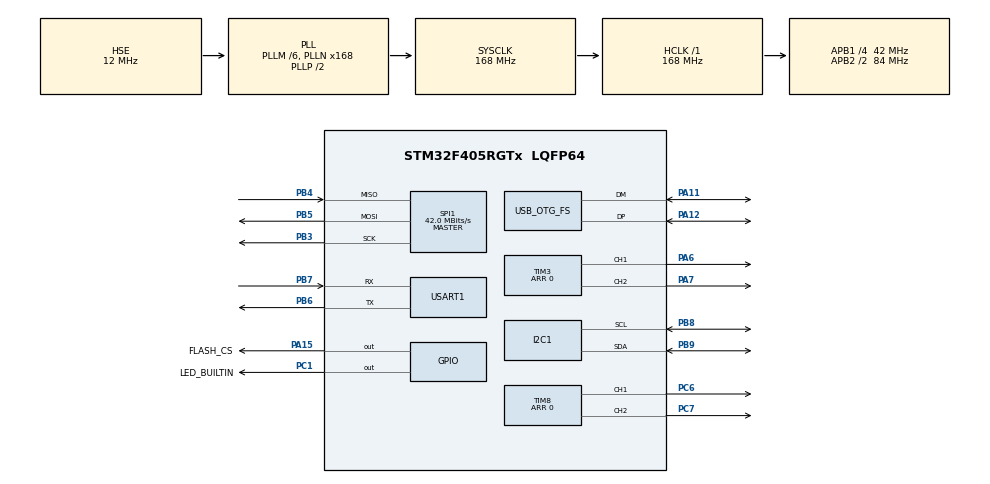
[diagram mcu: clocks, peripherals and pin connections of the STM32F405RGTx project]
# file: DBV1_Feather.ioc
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Dma.Request0=USART1_RX
Dma.Request1=TIM3_CH2
Dma.Request2=TIM3_CH1/TRIG
Dma.Request3=TIM8_CH1
Dma.Request4=TIM8_CH2
Dma.TIM3_CH1/TRIG.2.Direction=DMA_MEMORY_TO_PERIPH
Dma.TIM3_CH1/TRIG.2.FIFOMode=DMA_FIFOMODE_ENABLE
Dma.TIM3_CH1/TRIG.2.FIFOThreshold=DMA_FIFO_THRESHOLD_1QUARTERFULL
Dma.TIM3_CH1/TRIG.2.Instance=DMA1_Stream4
Dma.TIM3_CH1/TRIG.2.MemBurst=DMA_MBURST_SINGLE
Dma.TIM3_CH1/TRIG.2.MemDataAlignment=DMA_MDATAALIGN_WORD
Dma.TIM3_CH1/TRIG.2.MemInc=DMA_MINC_ENABLE
Dma.TIM3_CH1/TRIG.2.Mode=DMA_NORMAL
Dma.TIM3_CH1/TRIG.2.PeriphBurst=DMA_PBURST_SINGLE
Dma.TIM3_CH1/TRIG.2.PeriphDataAlignment=DMA_PDATAALIGN_WORD
Dma.TIM3_CH1/TRIG.2.PeriphInc=DMA_PINC_DISABLE
Dma.TIM3_CH1/TRIG.2.Priority=DMA_PRIORITY_HIGH
Dma.TIM3_CH2.1.Direction=DMA_MEMORY_TO_PERIPH
Dma.TIM3_CH2.1.FIFOMode=DMA_FIFOMODE_ENABLE
Dma.TIM3_CH2.1.FIFOThreshold=DMA_FIFO_THRESHOLD_1QUARTERFULL
Dma.TIM3_CH2.1.Instance=DMA1_Stream5
Dma.TIM3_CH2.1.MemBurst=DMA_MBURST_SINGLE
Dma.TIM3_CH2.1.MemDataAlignment=DMA_MDATAALIGN_WORD
Dma.TIM3_CH2.1.MemInc=DMA_MINC_ENABLE
Dma.TIM3_CH2.1.Mode=DMA_NORMAL
Dma.TIM3_CH2.1.PeriphBurst=DMA_PBURST_SINGLE
Dma.TIM3_CH2.1.PeriphDataAlignment=DMA_PDATAALIGN_WORD
Dma.TIM3_CH2.1.PeriphInc=DMA_PINC_DISABLE
Dma.TIM3_CH2.1.Priority=DMA_PRIORITY_HIGH
Dma.TIM8_CH1.3.Direction=DMA_MEMORY_TO_PERIPH
Dma.TIM8_CH1.3.FIFOMode=DMA_FIFOMODE_ENABLE
Dma.TIM8_CH1.3.FIFOThreshold=DMA_FIFO_THRESHOLD_1QUARTERFULL
Dma.TIM8_CH1.3.Instance=DMA2_Stream2
Dma.TIM8_CH1.3.MemBurst=DMA_MBURST_SINGLE
Dma.TIM8_CH1.3.MemDataAlignment=DMA_MDATAALIGN_WORD
Dma.TIM8_CH1.3.MemInc=DMA_MINC_ENABLE
Dma.TIM8_CH1.3.Mode=DMA_NORMAL
Dma.TIM8_CH1.3.PeriphBurst=DMA_PBURST_SINGLE
Dma.TIM8_CH1.3.PeriphDataAlignment=DMA_PDATAALIGN_WORD
Dma.TIM8_CH1.3.PeriphInc=DMA_PINC_DISABLE
Dma.TIM8_CH1.3.Priority=DMA_PRIORITY_HIGH
Dma.TIM8_CH2.4.Direction=DMA_MEMORY_TO_PERIPH
Dma.TIM8_CH2.4.FIFOMode=DMA_FIFOMODE_ENABLE
Dma.TIM8_CH2.4.FIFOThreshold=DMA_FIFO_THRESHOLD_1QUARTERFULL
Dma.TIM8_CH2.4.Instance=DMA2_Stream3
Dma.TIM8_CH2.4.MemBurst=DMA_MBURST_SINGLE
Dma.TIM8_CH2.4.MemDataAlignment=DMA_MDATAALIGN_WORD
Dma.TIM8_CH2.4.MemInc=DMA_MINC_ENABLE
Dma.TIM8_CH2.4.Mode=DMA_NORMAL
Dma.TIM8_CH2.4.PeriphBurst=DMA_PBURST_SINGLE
Dma.TIM8_CH2.4.PeriphDataAlignment=DMA_PDATAALIGN_WORD
Dma.TIM8_CH2.4.PeriphInc=DMA_PINC_DISABLE
Dma.TIM8_CH2.4.Priority=DMA_PRIORITY_HIGH
Dma.USART1_RX.0.Direction=DMA_PERIPH_TO_MEMORY
Dma.USART1_RX.0.FIFOMode=DMA_FIFOMODE_DISABLE
Dma.USART1_RX.0.Instance=DMA2_Stream5
Dma.USART1_RX.0.MemDataAlignment=DMA_MDATAALIGN_BYTE
Dma.USART1_RX.0.MemInc=DMA_MINC_ENABLE
Dma.USART1_RX.0.Mode=DMA_CIRCULAR
Dma.USART1_RX.0.PeriphDataAlignment=DMA_PDATAALIGN_BYTE
Dma.USART1_RX.0.PeriphInc=DMA_PINC_DISABLE
Dma.USART1_RX.0.Priority=DMA_PRIORITY_MEDIUM
Mcu.Family=STM32F4
Mcu.Name=STM32F405RGTx
Mcu.Package=LQFP64
NVIC.DMA1_Stream4_IRQn=true\:0\:0\:false\:false\:true\:false\:true\:true
NVIC.DMA1_Stream5_IRQn=true\:0\:0\:false\:false\:true\:false\:true\:true
NVIC.DMA2_Stream2_IRQn=true\:0\:0\:false\:false\:true\:false\:true\:true
NVIC.DMA2_Stream3_IRQn=true\:0\:0\:false\:false\:true\:false\:true\:true
NVIC.DMA2_Stream5_IRQn=true\:0\:0\:false\:false\:true\:false\:true\:true
NVIC.OTG_FS_IRQn=true\:0\:0\:false\:false\:true\:false\:true\:true
NVIC.PriorityGroup=NVIC_PRIORITYGROUP_4
NVIC.TIM2_IRQn=true\:0\:0\:false\:false\:true\:true\:true\:true
PA11.Mode=Device_Only
PA11.Signal=USB_OTG_FS_DM
PA12.Mode=Device_Only
PA12.Signal=USB_OTG_FS_DP
PA13.Mode=Serial_Wire
PA13.Signal=SYS_JTMS-SWDIO
PA14.Mode=Serial_Wire
PA14.Signal=SYS_JTCK-SWCLK
PA15.GPIO_Label=FLASH_CS
PA15.PinState=GPIO_PIN_SET
PA15.Signal=GPIO_Output
PA3.Signal=ADCx_IN3
PA6.Signal=S_TIM3_CH1
PA7.Signal=S_TIM3_CH2
PB3.Mode=Full_Duplex_Master
PB3.Signal=SPI1_SCK
PB4.Mode=Full_Duplex_Master
PB4.Signal=SPI1_MISO
PB5.Mode=Full_Duplex_Master
PB5.Signal=SPI1_MOSI
PB6.Mode=Asynchronous
PB6.Signal=USART1_TX
PB7.Mode=Asynchronous
PB7.Signal=USART1_RX
PB8.Mode=I2C
PB8.Signal=I2C1_SCL
PB9.Mode=I2C
PB9.Signal=I2C1_SDA
PC1.GPIO_Label=LED_BUILTIN
PC1.Signal=GPIO_Output
PC14-OSC32_IN.Mode=LSE-External-Oscillator
PC14-OSC32_IN.Signal=RCC_OSC32_IN
PC15-OSC32_OUT.Mode=LSE-External-Oscillator
PC15-OSC32_OUT.Signal=RCC_OSC32_OUT
PC6.Signal=S_TIM8_CH1
PC7.Signal=S_TIM8_CH2
PH0-OSC_IN.Mode=HSE-External-Oscillator
PH0-OSC_IN.Signal=RCC_OSC_IN
PH1-OSC_OUT.Mode=HSE-External-Oscillator
PH1-OSC_OUT.Signal=RCC_OSC_OUT
ProjectManager.HeapSize=0x200
ProjectManager.StackSize=0x400
ProjectManager.TargetToolchain=CMake
RCC.48MHZClocksFreq_Value=48000000
RCC.AHBFreq_Value=168000000
RCC.APB1CLKDivider=RCC_HCLK_DIV4
RCC.APB1Freq_Value=42000000
RCC.APB1TimFreq_Value=84000000
RCC.APB2CLKDivider=RCC_HCLK_DIV2
RCC.APB2Freq_Value=84000000
RCC.APB2TimFreq_Value=168000000
RCC.CortexFreq_Value=168000000
RCC.HCLKFreq_Value=168000000
RCC.HSE_VALUE=12000000
RCC.HSI_VALUE=16000000
RCC.PLLM=6
RCC.PLLN=168
RCC.PLLQ=7
RCC.SYSCLKFreq_VALUE=168000000
RCC.SYSCLKSource=RCC_SYSCLKSOURCE_PLLCLK
RCC.VCOOutputFreq_Value=336000000
SH.S_TIM3_CH1.0=TIM3_CH1,PWM Generation1 CH1
SH.S_TIM3_CH2.0=TIM3_CH2,PWM Generation2 CH2
SH.S_TIM8_CH1.0=TIM8_CH1,PWM Generation1 CH1
SH.S_TIM8_CH2.0=TIM8_CH2,PWM Generation2 CH2
SPI1.BaudRatePrescaler=SPI_BAUDRATEPRESCALER_2
SPI1.CalculateBaudRate=42.0 MBits/s
SPI1.Direction=SPI_DIRECTION_2LINES
SPI1.Mode=SPI_MODE_MASTER
SPI1.VirtualType=VM_MASTER
TIM2.Period=0
TIM2.Prescaler=0
TIM3.Channel-PWM\ Generation1\ CH1=TIM_CHANNEL_1
TIM3.Channel-PWM\ Generation2\ CH2=TIM_CHANNEL_2
TIM3.OCFastMode_PWM-PWM\ Generation1\ CH1=TIM_OCFAST_DISABLE
TIM3.Period=0
TIM8.Channel-PWM\ Generation1\ CH1=TIM_CHANNEL_1
TIM8.Channel-PWM\ Generation2\ CH2=TIM_CHANNEL_2
TIM8.Period=0
USART1.VirtualMode=VM_ASYNC
USB_DEVICE.APP_RX_DATA_SIZE-CDC_FS=512
USB_DEVICE.APP_TX_DATA_SIZE-CDC_FS=512
USB_DEVICE.CLASS_NAME_FS=CDC
USB_DEVICE.VirtualMode-CDC_FS=Cdc
USB_DEVICE.VirtualModeFS=Cdc_FS
USB_OTG_FS.VirtualMode=Device_Only
VP_TIM2_VS_ClockSourceINT.Mode=Internal
VP_TIM3_VS_ClockSourceINT.Mode=Internal
VP_TIM8_VS_ClockSourceINT.Mode=Internal
VP_USB_DEVICE_VS_USB_DEVICE_CDC_FS.Mode=CDC_FS
board=custom

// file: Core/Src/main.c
/* USER CODE BEGIN Header */
/**
  ******************************************************************************
  * @file           : main.c
  * @brief          : Main program body
  ******************************************************************************
  * @attention
  *
  * Copyright (c) 2026 STMicroelectronics.
  * All rights reserved.
  *
  * This software is licensed under terms that can be found in the LICENSE file
  * in the root directory of this software component.
  * If no LICENSE file comes with this software, it is provided AS-IS.
  *
  ******************************************************************************
  */

/* USER CODE END Header */
#include "main.h"
#include "State.h"
#include "dma.h"
#include "i2c.h"
#include "spi.h"
#include "stm32f4xx_hal.h"
#include "tim.h"
#include "usart.h"
#include "usb_device.h"
#include "gpio.h"

/* USER CODE BEGIN Includes */
#include "IMU_Model.h"
#include "IMU_Conductor.h"
#include "DShot.h"
#include "iBus.h"
#include "pid.h"
#include "State.h"
#include "USB_Handler.h"
#include "FlightLogger_Model.h"
#include "SPIFlash_Conductor.h"
#include <math.h>
#include <inttypes.h>
#include <usbd_cdc_if.h>

/* USER CODE END Includes */

/* USER CODE BEGIN PD */
//debug print runs once every this many main loop ticks
#define DEBUG_PRINT_LOOP_DIVIDER 20

/* USER CODE END PD */

/* USER CODE BEGIN PV */
volatile bool loop_ready_flag = 0;

//USB virtual COM variables

/* USER CODE END PV */

void SystemClock_Config(void);
/* USER CODE BEGIN PFP */
void set_loop_rate(uint32_t loop_rate_hz) {
  uint32_t tim_clk = MAIN_LOOP_TIM_CLK;

  uint16_t tim_PSC = lrintf((float) tim_clk / LOOP_TIM_TICK_RATE_HZ) - 1;
  uint32_t tim_ARR =  LOOP_TIM_TICK_RATE_HZ / loop_rate_hz;

  __HAL_TIM_SET_PRESCALER(MAIN_LOOP_TIM, tim_PSC);
  __HAL_TIM_SET_AUTORELOAD(MAIN_LOOP_TIM, tim_ARR);
}

//overwrite weak function so that printf works with serial port
int _write(int file, char *ptr, int len) {
  while (CDC_Transmit_FS((uint8_t *)ptr, len) == USBD_BUSY) {
        HAL_Delay(1);
    }
    return len;
}
/* USER CODE END PFP */

/* USER CODE BEGIN 0 */

// for ibus software failsafe
void HAL_UART_RxCpltCallback(UART_HandleTypeDef *huart);
//for timer
void HAL_TIM_PeriodElapsedCallback(TIM_HandleTypeDef *htim);
/*
//debugging only: prints IMU pitch rate (deg/s) once every DEBUG_PRINT_LOOP_DIVIDER calls
//printf blocks while USB is busy, so this must not be called while armed
static void debug_print_pitch_rate(const IMU_Model_t* imu_model) {
  static uint8_t loop_count = 0;

  if (++loop_count < DEBUG_PRINT_LOOP_DIVIDER) {
    return;
  }
  loop_count = 0;

  printf("Pitch: %.2f | Roll: %.2f | Yaw: %.2f\n", imu_model->pitch_rate, imu_model->roll_rate, imu_model->yaw_rate);
}
*/
/* USER CODE END 0 */

int main(void)
{

  /* USER CODE BEGIN 1 */
  IMU_Model_t imu_model;
  uint16_t ibus_data_pcts[IBUS_NUM_CHANNELS] = {0};
  uint16_t esc_commands_pcts[4] = {0};
  Quadcopter_State_t state = SOFT_DISARM;
  bool disarm_locked = false;
  User_USB_Commands_t user_command;
  static Quadcopter_State_t prev_state = SOFT_DISARM;
  float setpoint_output[NUM_MOTORS] = {0};
  /* USER CODE END 1 */

  /* MCU Configuration--------------------------------------------------------*/

  /* Reset of all peripherals, Initializes the Flash interface and the Systick. */
  HAL_Init();

  /* Configure the system clock */
  SystemClock_Config();

  /* Initialize all configured peripherals */
  MX_GPIO_Init();
  MX_DMA_Init();
  MX_I2C1_Init();
  MX_SPI1_Init();
  MX_USART1_UART_Init();
  MX_TIM3_Init();
  MX_TIM8_Init();
  MX_TIM2_Init();
  MX_USB_DEVICE_Init();
  /* USER CODE BEGIN 2 */
  set_loop_rate(PID_LOOP_RATE_HZ);

  dshot_init(DSHOT600);
  ibus_init(IBUS_UART);
  IMU_init(&hi2c1);
  //flash must be initialized before pid, since pid gains are loaded from most recent flight log
  const Pid_Output_t* pid_outputs;

  get_pid_output_pointer(&pid_outputs);
  flash_init(pid_outputs);

  //initializes pid_info objects
  pid_init();

  //get pointers to static pid_info objects
  const PID_t* pid_pitch;
  const PID_t* pid_roll;
  const PID_t* pid_yaw;

  get_pid_info_pointers(&pid_pitch, &pid_roll, &pid_yaw);

  //create a new log on power up always
  flash_new_log(pid_pitch, pid_roll, pid_yaw);

  //need to start timer explicitly to run interrupt-based main loop
  HAL_TIM_Base_Start_IT(MAIN_LOOP_TIM);
  while (!ibus_read_as_percents(ibus_data_pcts)) {
    HAL_Delay(1);
  }

  //prevent arming if arm switch flipped at power-up
  while(ibus_data_pcts[4] > 800) {
    HAL_Delay(1);
  }
  /* USER CODE END 2 */

  /* Infinite loop */
  /* USER CODE BEGIN WHILE */
  while (1)
  {
    if (loop_ready_flag) {
      loop_ready_flag = 0;
      IMU_update_model(&imu_model);
      ibus_read_as_percents(ibus_data_pcts);

      update_state(ibus_data_pcts, &imu_model, &disarm_locked, &state);

      switch(state) {
        case ARMED:
            if (ibus_failsafe_check(ibus_data_pcts)) {
              HAL_GPIO_WritePin(GPIOC, GPIO_PIN_1, GPIO_PIN_RESET);
              pid_update(&imu_model, ibus_data_pcts, esc_commands_pcts, setpoint_output);
              dshot_write_from_percents(esc_commands_pcts);
              flash_add_entry(&state, &imu_model, setpoint_output, esc_commands_pcts);
            }
          break;

        case HARD_DISARM:
          // if just waiting for user to flip arm switch to disarmed, don't enforce 10s delay or check serial input
          if (!disarm_locked) {
            break;
          }

          user_command = INVALID_COMMAND;
          while (disarm_locked) {
            dshot_disarm();
            HAL_GPIO_WritePin(GPIOC, GPIO_PIN_1, GPIO_PIN_SET);
            user_command = get_usb_command();
            uart_data_ready = false;

            switch (user_command) {
              case DOWNLOAD_LOGS:
              //TODO: Implement
              download_logs();
                break;
              case UPDATE_PID_GAINS:
                pid_update_gains();
                break;
              case ERASE:
                user_flash_erase();
                break;
              case UNLOCK:
                unlock_state(&disarm_locked);
                break;
              case INVALID_COMMAND:
                printf("\nTry again\n");
                break;
            }

          // require affirmative user input to re-arm
          // print list of options every 3 seconds:
          // re-arm (10s delay)
          // download logs
          // update PID gains
          // check UART buffer for user command
          // if user commands to release disarm, reset disarm_locked flag

          }
          HAL_Delay(10000);
          break;
        case SOFT_DISARM:
          //fall through (default to disarmed)
          //only requires flipping ARM switch to re-arm
        default:
          dshot_disarm();
          //create new log on disarm; functions to end previous log, and ensures that new log is setup
          if (prev_state == ARMED || prev_state == HARD_DISARM) {
            flash_new_log(pid_pitch, pid_roll, pid_yaw);
            pid_reset_error();
          }
          HAL_GPIO_WritePin(GPIOC, GPIO_PIN_1, GPIO_PIN_SET);
          break;
      }
/*
      //debugging only: kept out of the armed path since printf can block
      if (state != ARMED) {
        debug_print_pitch_rate(&imu_model);
      }
*/
      prev_state = state;
    }
  }
    /* USER CODE END WHILE */

}

void SystemClock_Config(void)
{
  RCC_OscInitTypeDef RCC_OscInitStruct = {0};
  RCC_ClkInitTypeDef RCC_ClkInitStruct = {0};

  /** Configure the main internal regulator output voltage
  */
  __HAL_RCC_PWR_CLK_ENABLE();
  __HAL_PWR_VOLTAGESCALING_CONFIG(PWR_REGULATOR_VOLTAGE_SCALE1);

  /** Initializes the RCC Oscillators according to the specified parameters
  * in the RCC_OscInitTypeDef structure.
  */
  RCC_OscInitStruct.OscillatorType = RCC_OSCILLATORTYPE_HSE;
  RCC_OscInitStruct.HSEState = RCC_HSE_ON;
  RCC_OscInitStruct.PLL.PLLState = RCC_PLL_ON;
  RCC_OscInitStruct.PLL.PLLSource = RCC_PLLSOURCE_HSE;
  RCC_OscInitStruct.PLL.PLLM = 6;
  RCC_OscInitStruct.PLL.PLLN = 168;
  RCC_OscInitStruct.PLL.PLLP = RCC_PLLP_DIV2;
  RCC_OscInitStruct.PLL.PLLQ = 7;
  if (HAL_RCC_OscConfig(&RCC_OscInitStruct) != HAL_OK)
  {
    Error_Handler();
  }

  /** Initializes the CPU, AHB and APB buses clocks
  */
  RCC_ClkInitStruct.ClockType = RCC_CLOCKTYPE_HCLK|RCC_CLOCKTYPE_SYSCLK
                              |RCC_CLOCKTYPE_PCLK1|RCC_CLOCKTYPE_PCLK2;
  RCC_ClkInitStruct.SYSCLKSource = RCC_SYSCLKSOURCE_PLLCLK;
  RCC_ClkInitStruct.AHBCLKDivider = RCC_SYSCLK_DIV1;
  RCC_ClkInitStruct.APB1CLKDivider = RCC_HCLK_DIV4;
  RCC_ClkInitStruct.APB2CLKDivider = RCC_HCLK_DIV2;

  if (HAL_RCC_ClockConfig(&RCC_ClkInitStruct, FLASH_LATENCY_5) != HAL_OK)
  {
    Error_Handler();
  }
}

/* USER CODE BEGIN 4 */

// Resets ibus failsafe flag counter every time a new packet is recieved. prevents stale data
void HAL_UART_RxCpltCallback(UART_HandleTypeDef *huart)
{
	if(huart == IBUS_UART)
		ibus_reset_failsafe();
}

void HAL_TIM_PeriodElapsedCallback(TIM_HandleTypeDef *htim) {
  if (htim == MAIN_LOOP_TIM) {
    loop_ready_flag = 1;
  }
}

/* USER CODE END 4 */

void Error_Handler(void)
{
  __disable_irq();
  while (1)
  {
  }
}
